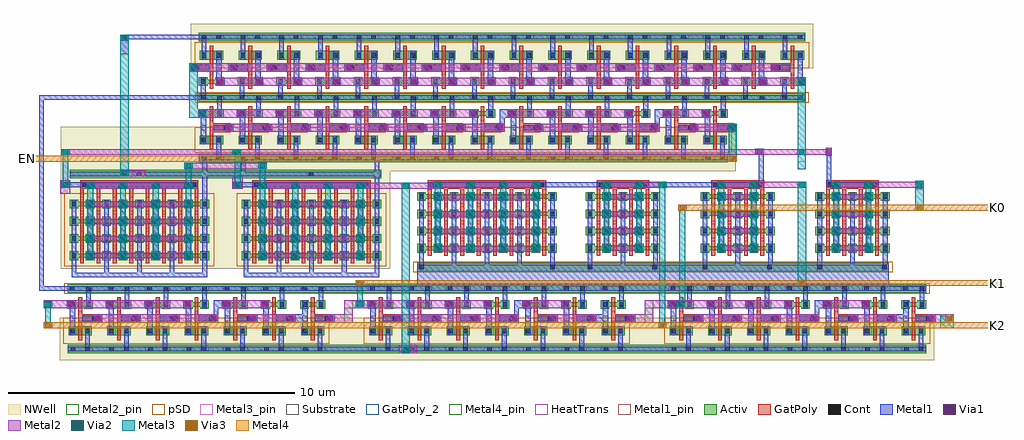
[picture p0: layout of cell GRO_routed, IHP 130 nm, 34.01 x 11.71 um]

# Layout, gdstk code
from math import pi, radians
import gdstk
lib = gdstk.Library(unit=1e-6, precision=5e-09)
def R(c, l, rs):  # rectangles x0, y0, x1, y1
    for r in rs: c.add(gdstk.rectangle(r[:2], r[2:], *l))
def A(c, l, x, y, w, h, nx, ny, dx, dy):  # array of equal rectangles
    R(c, l, [(x+i*dx, y+j*dy, x+i*dx+w, y+j*dy+h) for i in range(nx) for j in range(ny)])
Activ = (1, 0)
GatPoly = (5, 0)
GatPoly_2 = (5, 2)
Cont = (6, 0)
Metal1 = (8, 0)
Metal1_pin = (8, 2)
Metal2 = (10, 0)
Metal2_pin = (10, 2)
pSD = (14, 0)
Via1 = (19, 0)
Via2 = (29, 0)
Metal3 = (30, 0)
Metal3_pin = (30, 2)
NWell = (31, 0)
Substrate = (40, 0)
Via3 = (49, 0)
Metal4 = (50, 0)
Metal4_pin = (50, 2)
HeatTrans = (51, 0)

nmos_11_1 = lib.new_cell('nmos$11$1')
R(nmos_11_1, Activ, [(0,0,0.3,0.3), (0.57,0,0.87,0.3), (0,0.075,0.87,0.225)])
R(nmos_11_1, GatPoly, [(0.37,-0.105,0.5,0.405)])
R(nmos_11_1, GatPoly_2, [(0.37,-0.105,0.5,0.405)])
R(nmos_11_1, Cont, [(0.07,0.07,0.23,0.23), (0.64,0.07,0.8,0.23)])
R(nmos_11_1, Metal1, [(0.07,0.02,0.23,0.28), (0.64,0.02,0.8,0.28)])
R(nmos_11_1, Metal1_pin, [(0.07,0.02,0.23,0.28), (0.64,0.02,0.8,0.28)])
R(nmos_11_1, HeatTrans, [(0.37,-0.105,0.5,0.405)])
nmos_11_1.add(gdstk.Label('nmos', (0.435,0.15), layer=63, texttype=0))
nmos_11_1.add(gdstk.Label('nmos', (0.435,0.15), layer=51, texttype=0))

pmos_1_7_1 = lib.new_cell('pmos$1$7$1')
R(pmos_1_7_1, Activ, [(0,0,0.3,0.3), (0,0,0.81,0.3), (0.51,0,0.81,0.3)])
R(pmos_1_7_1, GatPoly, [(0.34,-0.18,0.47,0.48), (0.34,-0.18,0.47,0.48)])
R(pmos_1_7_1, Cont, [(0.07,0.07,0.23,0.23), (0.58,0.07,0.74,0.23)])
R(pmos_1_7_1, Metal1, [(0.07,0,0.23,0.3), (0.07,0,0.23,0.3), (0.58,0,0.74,0.3), (0.58,0,0.74,0.3)])
R(pmos_1_7_1, pSD, [(-0.18,-0.3,0.99,0.6)])
R(pmos_1_7_1, NWell, [(-0.31,-0.31,1.12,0.61)])
R(pmos_1_7_1, Substrate, [(0.51,0,0.81,0.3)])
R(pmos_1_7_1, HeatTrans, [(0.34,-0.18,0.47,0.48)])
pmos_1_7_1.add(gdstk.Label('pmos', (0.405,0.15), layer=63, texttype=0))
pmos_1_7_1.add(gdstk.Label('pmos', (0.405,0.15), layer=51, texttype=0))

via1_constraint_9_1 = lib.new_cell('Via1_constraint$9$1')
R(via1_constraint_9_1, Metal1, [(0,0,0.29,0.29)])
R(via1_constraint_9_1, Metal2, [(0,0,0.29,0.29)])
R(via1_constraint_9_1, Via1, [(0.05,0.05,0.24,0.24)])

inv_d1_7_1 = lib.new_cell('INV_D1$7$1')
R(inv_d1_7_1, Activ, [(0.28,0.03,1.15,0.33), (0.28,2.135,1.15,2.435)])
R(inv_d1_7_1, GatPoly, [(0.06,1.08,0.65,1.38), (0.65,1.11,0.78,1.325)])
R(inv_d1_7_1, GatPoly_2, [(0.06,1.08,0.65,1.38)])
R(inv_d1_7_1, Cont, [(0.35,0.1,0.51,0.26), (0.92,0.1,1.08,0.26), (0.13,1.15,0.29,1.31), (0.38,2.205,0.54,2.365), (0.89,2.205,1.05,2.365)])
R(inv_d1_7_1, Metal1, [(0.28,0.1,1.15,0.26), (0.07,1.14,0.64,1.32), (0.28,2.205,1.15,2.365)])
R(inv_d1_7_1, Metal1_pin, [(0.28,0.1,1.15,0.26), (0.07,1.14,0.64,1.32), (0.89,1.14,1.08,1.32), (0.28,2.205,1.15,2.365)])
R(inv_d1_7_1, pSD, [(0.15,0,1.28,0.36)])
R(inv_d1_7_1, NWell, [(0,2.115,1.43,2.745)])
R(inv_d1_7_1, Substrate, [(0.82,1.505,1.12,1.805)])
inv_d1_7_1.add(gdstk.FlexPath([(0.46,1.805),(0.46,2.365)], 0.16, ends="flush", simple_path=True, layer=8, datatype=0))  # Metal1
inv_d1_7_1.add(gdstk.FlexPath([(0.985,0.585),(0.985,1.805)], 0.19, ends="flush", simple_path=True, layer=8, datatype=0))  # Metal1
inv_d1_7_1.add(gdstk.FlexPath([(0.43,0.865),(0.43,0.1)], 0.16, ends="flush", simple_path=True, layer=8, datatype=0))  # Metal1
inv_d1_7_1.add(gdstk.FlexPath([(0.715,1.11),(0.715,0.99)], 0.13, ends="flush", simple_path=True, layer=5, datatype=0))  # GatPoly
inv_d1_7_1.add(gdstk.Reference(nmos_11_1, (0.28,0.585)))
inv_d1_7_1.add(gdstk.Reference(pmos_1_7_1, (0.31,1.505)))
inv_d1_7_1.add(gdstk.Reference(via1_constraint_9_1, (-0.05,1.085)))
inv_d1_7_1.add(gdstk.Reference(via1_constraint_9_1, (0.89,0.585)))
inv_d1_7_1.add(gdstk.Label('nmos', (0.715,0.655), layer=63, texttype=0))
inv_d1_7_1.add(gdstk.Label('VIN', (0.285,1.175), layer=8, texttype=25))
inv_d1_7_1.add(gdstk.Label('VOUT', (1.03,1.165), layer=8, texttype=25))
inv_d1_7_1.add(gdstk.Label('VDD', (0.655,2.28), layer=8, texttype=25))
inv_d1_7_1.add(gdstk.Label('VSS', (0.65,0.175), layer=8, texttype=25))

delay_gro_placement_1 = lib.new_cell('Delay_GRO_placement$1')
r = gdstk.Reference(inv_d1_7_1, (0,2.315)); r.repetition = gdstk.Repetition(16, 1, v1=(1.35,0), v2=(0,0)); delay_gro_placement_1.add(r)
r = gdstk.Reference(inv_d1_7_1, (18.98,2.675), rotation=pi); r.repetition = gdstk.Repetition(14, 1, v1=(-1.35,0), v2=(0,0)); delay_gro_placement_1.add(r)

via2_constraint_11_1 = lib.new_cell('Via2_constraint$11$1')
R(via2_constraint_11_1, Metal2, [(0,0,0.29,0.29)])
R(via2_constraint_11_1, Via2, [(0.05,0.05,0.24,0.24)])
R(via2_constraint_11_1, Metal3, [(0,0,0.29,0.29)])

delay_gro_routed_1 = lib.new_cell('Delay_GRO_routed$1')
R(delay_gro_routed_1, Activ, [(0.33,0.73,18.1,1.03), (0.33,2.835,21.45,3.135), (0.33,4.94,21.45,5.24)])
R(delay_gro_routed_1, Metal1, [(0.33,0.8,18.1,0.96), (10.82,1.79,10.98,2.58), (16.22,1.79,16.38,2.58), (10.82,2.29,11.39,2.58), (16.22,2.29,16.79,2.58), (0.33,2.905,21.45,3.065), (0.33,5.01,21.45,5.17)])
R(delay_gro_routed_1, Metal2, [(1.24,1.79,10.98,2.08), (12.04,1.79,16.38,2.08), (17.44,1.79,19.08,2.08), (0.3,2.29,10.04,2.58), (11.105,2.29,15.445,2.58), (16.5,2.29,18.14,2.58), (0.94,3.39,21.48,3.68), (0,3.89,20.54,4.18)])
R(delay_gro_routed_1, pSD, [(0.18,1.06,18.25,1.96), (0.2,2.805,21.58,3.165), (0.18,4.01,21.6,4.91)])
R(delay_gro_routed_1, Metal3, [(21.19,0.48,21.48,3.685), (18.79,0.745,19.08,2.08), (0,2.29,0.29,4.18), (0,2.29,0.59,2.58)])
R(delay_gro_routed_1, Metal3_pin, [(21.19,0.48,21.48,0.77), (18.79,0.745,19.08,1.035)])
delay_gro_routed_1.add(gdstk.Reference(delay_gro_placement_1, (0.05,0.49)))
delay_gro_routed_1.add(gdstk.Reference(via2_constraint_11_1, (21.19,3.39)))
delay_gro_routed_1.add(gdstk.Reference(via2_constraint_11_1, (0,3.89)))
delay_gro_routed_1.add(gdstk.Reference(via2_constraint_11_1, (0.3,2.29)))
delay_gro_routed_1.add(gdstk.Reference(via2_constraint_11_1, (18.79,1.79)))
delay_gro_routed_1.add(gdstk.Label('VDD', (0.73,5.065), layer=8, texttype=25))
delay_gro_routed_1.add(gdstk.Label('VSS', (1.27,2.97), layer=8, texttype=25))
delay_gro_routed_1.add(gdstk.Label('EN', (18.88,0.9), layer=30, texttype=25))
delay_gro_routed_1.add(gdstk.Label('G', (21.295,0.635), layer=30, texttype=25))

delay_gro_1 = lib.new_cell('Delay_GRO$1')
delay_gro_1.add(gdstk.Reference(delay_gro_routed_1, (0,0)))

pmos_5_1 = lib.new_cell('pmos$5$1')
R(pmos_5_1, Activ, [(0,0,0.3,0.3), (0.57,0,0.87,0.3), (0,0.075,0.87,0.225)])
R(pmos_5_1, GatPoly, [(0.37,-0.105,0.5,0.405), (0.37,-0.105,0.5,0.405)])
R(pmos_5_1, Cont, [(0.07,0.07,0.23,0.23), (0.64,0.07,0.8,0.23)])
R(pmos_5_1, Metal1, [(0.07,0.02,0.23,0.28), (0.07,0.02,0.23,0.28), (0.64,0.02,0.8,0.28), (0.64,0.02,0.8,0.28)])
R(pmos_5_1, pSD, [(-0.18,-0.225,1.05,0.525)])
R(pmos_5_1, NWell, [(-0.31,-0.31,1.18,0.61)])
R(pmos_5_1, Substrate, [(0.57,0,0.87,0.3)])
R(pmos_5_1, HeatTrans, [(0.37,-0.105,0.5,0.405)])
pmos_5_1.add(gdstk.Label('pmos', (0.435,0.15), layer=63, texttype=0))
pmos_5_1.add(gdstk.Label('pmos', (0.435,0.15), layer=51, texttype=0))

m1_4_placement_1 = lib.new_cell('M1_4_placement$1')
r = gdstk.Reference(pmos_5_1, (0.31,0.31)); r.repetition = gdstk.Repetition(8, 4, v1=(0.57,0), v2=(0,0.6)); m1_4_placement_1.add(r)

via_stack = lib.new_cell('via_stack')
R(via_stack, Metal1, [(-0.145,-0.105,0.145,0.105)])
R(via_stack, Metal2, [(-0.145,-0.1,0.145,0.1)])
R(via_stack, Via1, [(-0.095,-0.095,0.095,0.095)])
R(via_stack, Via2, [(-0.095,-0.095,0.095,0.095)])
R(via_stack, Metal3, [(-0.145,-0.1,0.145,0.1)])

via_stack_3 = lib.new_cell('via_stack$3')
R(via_stack_3, Metal2, [(-0.145,-0.1,0.145,0.1)])
R(via_stack_3, Via2, [(-0.095,-0.095,0.095,0.095)])
R(via_stack_3, Metal3, [(-0.145,-0.1,0.145,0.1)])

m1_4_routed_1 = lib.new_cell('M1_4_routed$1')
R(m1_4_routed_1, Activ, [(0.31,3.45,5.17,3.75)])
A(m1_4_routed_1, GatPoly, 0.68, 0.5, 0.13, 2.58, 7, 1, 0.57, 0)
R(m1_4_routed_1, GatPoly, [(4.67,0.5,4.8,3.38), (0.68,3.08,4.8,3.38)])
R(m1_4_routed_1, Cont, [(0.75,3.15,0.91,3.31), (4.545,3.15,4.705,3.31), (2.645,3.52,2.805,3.68)])
A(m1_4_routed_1, Metal1, 0.38, 0, 0.16, 2.685, 5, 1, 1.14, 0)
R(m1_4_routed_1, Metal1, [(0.38,0,5.1,0.16), (4.94,2.685,5.1,3.68), (0.7,3.14,4.755,3.32), (0.31,3.52,5.17,3.68)])
R(m1_4_routed_1, Metal1_pin, [(0.7,3.14,4.755,3.32)])
R(m1_4_routed_1, NWell, [(0,3.015,5.48,3.99)])
m1_4_routed_1.add(gdstk.FlexPath([(4.55,3.19),(0.89,3.19)], 0.2, ends="flush", simple_path=True, layer=10, datatype=0))  # Metal2
m1_4_routed_1.add(gdstk.FlexPath([(4.55,0.76),(0.89,0.76)], 0.2, ends="flush", simple_path=True, layer=10, datatype=0))  # Metal2
m1_4_routed_1.add(gdstk.FlexPath([(4.55,1.35),(0.89,1.35)], 0.2, ends="flush", simple_path=True, layer=10, datatype=0))  # Metal2
m1_4_routed_1.add(gdstk.FlexPath([(4.55,1.95),(0.89,1.95)], 0.2, ends="flush", simple_path=True, layer=10, datatype=0))  # Metal2
m1_4_routed_1.add(gdstk.FlexPath([(4.55,2.55),(0.89,2.55)], 0.2, ends="flush", simple_path=True, layer=10, datatype=0))  # Metal2
m1_4_routed_1.add(gdstk.FlexPath([(1.03,0.655),(1.03,3.29)], 0.2, ends="flush", simple_path=True, layer=30, datatype=0))  # Metal3
m1_4_routed_1.add(gdstk.FlexPath([(2.17,0.655),(2.17,3.29)], 0.2, ends="flush", simple_path=True, layer=30, datatype=0))  # Metal3
m1_4_routed_1.add(gdstk.FlexPath([(3.31,0.655),(3.31,3.29)], 0.2, ends="flush", simple_path=True, layer=30, datatype=0))  # Metal3
m1_4_routed_1.add(gdstk.FlexPath([(4.45,0.655),(4.45,3.29)], 0.2, ends="flush", simple_path=True, layer=30, datatype=0))  # Metal3
m1_4_routed_1.add(gdstk.Reference(m1_4_placement_1, (0,0.295)))
m1_4_routed_1.add(gdstk.Reference(via_stack, (1.025,2.555)))
m1_4_routed_1.add(gdstk.Reference(via_stack, (1.025,1.95)))
m1_4_routed_1.add(gdstk.Reference(via_stack, (1.025,1.36)))
m1_4_routed_1.add(gdstk.Reference(via_stack, (1.025,0.76)))
m1_4_routed_1.add(gdstk.Reference(via_stack, (2.17,2.555)))
m1_4_routed_1.add(gdstk.Reference(via_stack, (2.17,1.95)))
m1_4_routed_1.add(gdstk.Reference(via_stack, (2.17,1.36)))
m1_4_routed_1.add(gdstk.Reference(via_stack, (2.17,0.76)))
m1_4_routed_1.add(gdstk.Reference(via_stack, (3.31,2.555)))
m1_4_routed_1.add(gdstk.Reference(via_stack, (3.31,1.95)))
m1_4_routed_1.add(gdstk.Reference(via_stack, (3.31,1.36)))
m1_4_routed_1.add(gdstk.Reference(via_stack, (3.31,0.76)))
m1_4_routed_1.add(gdstk.Reference(via_stack, (4.45,2.555)))
m1_4_routed_1.add(gdstk.Reference(via_stack, (4.45,1.95)))
m1_4_routed_1.add(gdstk.Reference(via_stack, (4.45,1.36)))
m1_4_routed_1.add(gdstk.Reference(via_stack, (4.45,0.76)))
m1_4_routed_1.add(gdstk.Reference(via_stack_3, (1.035,3.19)))
m1_4_routed_1.add(gdstk.Reference(via_stack_3, (3.31,3.19)))
m1_4_routed_1.add(gdstk.Reference(via_stack_3, (2.17,3.19)))
m1_4_routed_1.add(gdstk.Reference(via_stack_3, (4.45,3.19)))

m1_4_1 = lib.new_cell('M1_4$1')
R(m1_4_1, GatPoly_2, [(0.68,3.08,4.8,3.38)])
A(m1_4_1, Metal1, 0.95, 0.625, 0.16, 2.06, 4, 1, 1.14, 0)
m1_4_1.add(gdstk.Reference(m1_4_routed_1, (0,0)))

nmos_2_3_1 = lib.new_cell('nmos$2$3$1')
R(nmos_2_3_1, Activ, [(0,0,0.3,0.3), (0.57,0,0.87,0.3), (0,0.075,0.87,0.225)])
R(nmos_2_3_1, GatPoly, [(0.37,-0.105,0.5,0.405)])
R(nmos_2_3_1, GatPoly_2, [(0.37,-0.105,0.5,0.405)])
R(nmos_2_3_1, Cont, [(0.07,0.07,0.23,0.23), (0.64,0.07,0.8,0.23)])
R(nmos_2_3_1, Metal1, [(0.07,0.02,0.23,0.28), (0.64,0.02,0.8,0.28)])
R(nmos_2_3_1, Metal1_pin, [(0.07,0.02,0.23,0.28), (0.64,0.02,0.8,0.28)])
R(nmos_2_3_1, HeatTrans, [(0.37,-0.105,0.5,0.405)])
nmos_2_3_1.add(gdstk.Label('nmos', (0.435,0.15), layer=63, texttype=0))
nmos_2_3_1.add(gdstk.Label('nmos', (0.435,0.15), layer=51, texttype=0))

pmos_1_1_4_1 = lib.new_cell('pmos$1$1$4$1')
R(pmos_1_1_4_1, Activ, [(0,0,0.3,0.3), (0,0,0.81,0.3), (0.51,0,0.81,0.3)])
R(pmos_1_1_4_1, GatPoly, [(0.34,-0.18,0.47,0.48), (0.34,-0.18,0.47,0.48)])
R(pmos_1_1_4_1, Cont, [(0.07,0.07,0.23,0.23), (0.58,0.07,0.74,0.23)])
R(pmos_1_1_4_1, Metal1, [(0.07,0,0.23,0.3), (0.07,0,0.23,0.3), (0.58,0,0.74,0.3), (0.58,0,0.74,0.3)])
R(pmos_1_1_4_1, pSD, [(-0.18,-0.3,0.99,0.6)])
R(pmos_1_1_4_1, NWell, [(-0.31,-0.31,1.12,0.61)])
R(pmos_1_1_4_1, Substrate, [(0.51,0,0.81,0.3)])
R(pmos_1_1_4_1, HeatTrans, [(0.34,-0.18,0.47,0.48)])
pmos_1_1_4_1.add(gdstk.Label('pmos', (0.405,0.15), layer=63, texttype=0))
pmos_1_1_4_1.add(gdstk.Label('pmos', (0.405,0.15), layer=51, texttype=0))

via1_constraint_3_2_1 = lib.new_cell('Via1_constraint$3$2$1')
R(via1_constraint_3_2_1, Metal1, [(0,0,0.29,0.29)])
R(via1_constraint_3_2_1, Metal2, [(0,0,0.29,0.29)])
R(via1_constraint_3_2_1, Via1, [(0.05,0.05,0.24,0.24)])

inv_d1_1_4_1 = lib.new_cell('INV_D1$1$4$1')
R(inv_d1_1_4_1, Activ, [(0.28,0.03,1.15,0.33), (0.28,2.135,1.15,2.435)])
R(inv_d1_1_4_1, GatPoly, [(0.06,1.08,0.65,1.38), (0.65,1.11,0.78,1.325)])
R(inv_d1_1_4_1, GatPoly_2, [(0.06,1.08,0.65,1.38)])
R(inv_d1_1_4_1, Cont, [(0.35,0.1,0.51,0.26), (0.92,0.1,1.08,0.26), (0.13,1.15,0.29,1.31), (0.38,2.205,0.54,2.365), (0.89,2.205,1.05,2.365)])
R(inv_d1_1_4_1, Metal1, [(0.28,0.1,1.15,0.26), (0.07,1.14,0.64,1.32), (0.28,2.205,1.15,2.365)])
R(inv_d1_1_4_1, Metal1_pin, [(0.28,0.1,1.15,0.26), (0.07,1.14,0.64,1.32), (0.89,1.14,1.08,1.32), (0.28,2.205,1.15,2.365)])
R(inv_d1_1_4_1, pSD, [(0.15,0,1.28,0.36)])
R(inv_d1_1_4_1, NWell, [(0,2.115,1.43,2.675)])
R(inv_d1_1_4_1, Substrate, [(0.82,1.505,1.12,1.805)])
inv_d1_1_4_1.add(gdstk.FlexPath([(0.46,1.805),(0.46,2.365)], 0.16, ends="flush", simple_path=True, layer=8, datatype=0))  # Metal1
inv_d1_1_4_1.add(gdstk.FlexPath([(0.985,0.585),(0.985,1.805)], 0.19, ends="flush", simple_path=True, layer=8, datatype=0))  # Metal1
inv_d1_1_4_1.add(gdstk.FlexPath([(0.43,0.865),(0.43,0.1)], 0.16, ends="flush", simple_path=True, layer=8, datatype=0))  # Metal1
inv_d1_1_4_1.add(gdstk.FlexPath([(0.715,1.11),(0.715,0.99)], 0.13, ends="flush", simple_path=True, layer=5, datatype=0))  # GatPoly
inv_d1_1_4_1.add(gdstk.Reference(nmos_2_3_1, (0.28,0.585)))
inv_d1_1_4_1.add(gdstk.Reference(pmos_1_1_4_1, (0.31,1.505)))
inv_d1_1_4_1.add(gdstk.Reference(via1_constraint_3_2_1, (-0.05,1.085)))
inv_d1_1_4_1.add(gdstk.Label('nmos', (0.715,0.655), layer=63, texttype=0))
inv_d1_1_4_1.add(gdstk.Label('VIN', (0.285,1.175), layer=8, texttype=25))
inv_d1_1_4_1.add(gdstk.Label('VOUT', (1.03,1.165), layer=8, texttype=25))
inv_d1_1_4_1.add(gdstk.Label('VDD', (0.655,2.28), layer=8, texttype=25))
inv_d1_1_4_1.add(gdstk.Label('VSS', (0.65,0.175), layer=8, texttype=25))

inv3_placement_1 = lib.new_cell('INV3_placement$1')
r = gdstk.Reference(inv_d1_1_4_1, (18.98,2.675), rotation=pi); r.repetition = gdstk.Repetition(7, 1, v1=(-1.35,0), v2=(0,0)); inv3_placement_1.add(r)

via2_constraint_1_6_1 = lib.new_cell('Via2_constraint$1$6$1')

inv3_routed_1 = lib.new_cell('INV3_routed$1')
R(inv3_routed_1, Activ, [(0.85,0.24,9.17,0.54), (0.85,2.345,9.82,2.645)])
R(inv3_routed_1, Metal1, [(0.85,0.31,9.17,0.47), (5.94,1.3,6.1,2.09), (8.51,1.3,9.21,1.59), (5.94,1.8,6.51,2.09), (0.85,2.415,9.82,2.575)])
R(inv3_routed_1, Metal2, [(1.76,1.3,6.1,1.59), (7.16,1.3,8.8,1.59), (9.86,1.3,10.775,1.59), (0.015,1.8,1.13,2.09), (0.82,1.8,5.16,2.09), (6.22,1.8,7.86,2.09)])
R(inv3_routed_1, Metal2_pin, [(10.485,1.3,10.775,1.59), (0.015,1.8,0.305,2.09)])
R(inv3_routed_1, pSD, [(0.7,0.57,9.32,1.47), (0.72,2.315,9.95,2.675)])
inv3_routed_1.add(gdstk.Reference(inv3_placement_1, (-8.88,0)))
inv3_routed_1.add(gdstk.Reference(via2_constraint_1_6_1, (7.57,1.8)))
inv3_routed_1.add(gdstk.Reference(via2_constraint_1_6_1, (12.26,2.9)))
inv3_routed_1.add(gdstk.Reference(via2_constraint_1_6_1, (-8.93,3.4)))
inv3_routed_1.add(gdstk.Reference(via2_constraint_1_6_1, (-8.63,1.8)))
inv3_routed_1.add(gdstk.Reference(via2_constraint_1_6_1, (9.86,1.3)))
inv3_routed_1.add(gdstk.Label('VIN', (10.605,1.45), layer=10, texttype=25))
inv3_routed_1.add(gdstk.Label('VOUT', (0.165,1.975), layer=10, texttype=25))

via1_constraint_4_2_1 = lib.new_cell('Via1_constraint$4$2$1')
R(via1_constraint_4_2_1, Metal1, [(0,0,0.29,0.29)])
R(via1_constraint_4_2_1, Metal2, [(0,0,0.29,0.29)])
R(via1_constraint_4_2_1, Via1, [(0.05,0.05,0.24,0.24)])

inv3_1 = lib.new_cell('INV3$1')
inv3_1.add(gdstk.Reference(inv3_routed_1, (0,0)))
inv3_1.add(gdstk.Reference(via1_constraint_4_2_1, (7.57,1.8)))
inv3_1.add(gdstk.Reference(via1_constraint_4_2_1, (6.22,1.8)))
inv3_1.add(gdstk.Reference(via1_constraint_4_2_1, (4.87,1.8)))
inv3_1.add(gdstk.Reference(via1_constraint_4_2_1, (3.52,1.8)))
inv3_1.add(gdstk.Reference(via1_constraint_4_2_1, (2.17,1.8)))
inv3_1.add(gdstk.Reference(via1_constraint_4_2_1, (0.82,1.8)))

nmos_3_3_1 = lib.new_cell('nmos$3$3$1')
R(nmos_3_3_1, Activ, [(0,0,0.3,0.3), (0.57,0,0.87,0.3), (0,0.075,0.87,0.225)])
R(nmos_3_3_1, GatPoly, [(0.37,-0.105,0.5,0.405)])
R(nmos_3_3_1, GatPoly_2, [(0.37,-0.105,0.5,0.405)])
R(nmos_3_3_1, Cont, [(0.07,0.07,0.23,0.23), (0.64,0.07,0.8,0.23)])
R(nmos_3_3_1, Metal1, [(0.07,0.02,0.23,0.28), (0.64,0.02,0.8,0.28)])
R(nmos_3_3_1, Metal1_pin, [(0.07,0.02,0.23,0.28), (0.64,0.02,0.8,0.28)])
R(nmos_3_3_1, HeatTrans, [(0.37,-0.105,0.5,0.405)])
nmos_3_3_1.add(gdstk.Label('nmos', (0.435,0.15), layer=63, texttype=0))
nmos_3_3_1.add(gdstk.Label('nmos', (0.435,0.15), layer=51, texttype=0))

m2_3_placement_1 = lib.new_cell('M2_3_placement$1')
r = gdstk.Reference(nmos_3_3_1, (0,0.105)); r.repetition = gdstk.Repetition(4, 4, v1=(0.57,0), v2=(0,0.6)); m2_3_placement_1.add(r)
m2_3_placement_1.add(gdstk.Reference(via_stack, (0.715,2.05)))
m2_3_placement_1.add(gdstk.Reference(via_stack, (0.715,0.845)))
m2_3_placement_1.add(gdstk.Reference(via_stack, (0.715,1.455)))
m2_3_placement_1.add(gdstk.Reference(via_stack, (0.715,0.255)))
m2_3_placement_1.add(gdstk.Reference(via_stack, (1.855,2.04)))
m2_3_placement_1.add(gdstk.Reference(via_stack, (1.855,0.835)))
m2_3_placement_1.add(gdstk.Reference(via_stack, (1.855,1.445)))
m2_3_placement_1.add(gdstk.Reference(via_stack, (1.855,0.245)))

m2_3_routed_1 = lib.new_cell('M2_3_routed$1')
R(m2_3_routed_1, Activ, [(0.13,0.03,2.685,0.33)])
A(m2_3_routed_1, GatPoly, 0.5, 0.58, 0.13, 2.32, 4, 1, 0.57, 0)
R(m2_3_routed_1, GatPoly, [(0.5,2.9,2.34,3.2)])
R(m2_3_routed_1, GatPoly_2, [(0.5,2.9,2.34,3.2)])
R(m2_3_routed_1, Cont, [(0.2,0.1,0.36,0.26), (2.45,0.1,2.61,0.26), (0.57,2.97,0.73,3.13), (2.11,2.97,2.27,3.13)])
R(m2_3_routed_1, Metal1, [(0.13,0.1,2.685,0.26), (1.91,0.7,2.07,2.76), (0.77,0.705,0.93,2.765), (0.52,2.96,2.32,3.14)])
R(m2_3_routed_1, Metal1_pin, [(0.52,2.96,2.32,3.14)])
R(m2_3_routed_1, pSD, [(0,0,2.815,0.36)])
m2_3_routed_1.add(gdstk.FlexPath([(0.28,2.76),(0.28,0.1)], 0.16, ends="flush", simple_path=True, layer=8, datatype=0))  # Metal1
m2_3_routed_1.add(gdstk.FlexPath([(2.56,2.76),(2.56,0.1)], 0.16, ends="flush", simple_path=True, layer=8, datatype=0))  # Metal1
m2_3_routed_1.add(gdstk.FlexPath([(1.42,2.76),(1.42,0.1)], 0.16, ends="flush", simple_path=True, layer=8, datatype=0))  # Metal1
m2_3_routed_1.add(gdstk.FlexPath([(2.08,3.05),(0.7,3.05)], 0.2, ends="flush", simple_path=True, layer=10, datatype=0))  # Metal2
m2_3_routed_1.add(gdstk.FlexPath([(2.08,2.62),(0.7,2.62)], 0.2, ends="flush", simple_path=True, layer=10, datatype=0))  # Metal2
m2_3_routed_1.add(gdstk.FlexPath([(2.08,2.03),(0.7,2.03)], 0.2, ends="flush", simple_path=True, layer=10, datatype=0))  # Metal2
m2_3_routed_1.add(gdstk.FlexPath([(2.08,1.44),(0.7,1.44)], 0.2, ends="flush", simple_path=True, layer=10, datatype=0))  # Metal2
m2_3_routed_1.add(gdstk.FlexPath([(2.08,0.84),(0.7,0.84)], 0.2, ends="flush", simple_path=True, layer=10, datatype=0))  # Metal2
m2_3_routed_1.add(gdstk.FlexPath([(0.85,0.73),(0.85,3.14)], 0.2, ends="flush", simple_path=True, layer=30, datatype=0))  # Metal3
m2_3_routed_1.add(gdstk.FlexPath([(1.98,0.73),(1.98,3.14)], 0.2, ends="flush", simple_path=True, layer=30, datatype=0))  # Metal3
m2_3_routed_1.add(gdstk.Reference(m2_3_placement_1, (0.13,0.58)))
m2_3_routed_1.add(gdstk.Reference(via_stack_3, (0.845,3.05)))
m2_3_routed_1.add(gdstk.Reference(via_stack_3, (1.98,3.05)))

nmos_array = lib.new_cell('nmos_array')
nmos_array.add(gdstk.Reference(m2_3_routed_1, (0,0)))

nmos_3_3_2 = lib.new_cell('nmos$3$3$2')
R(nmos_3_3_2, Activ, [(0,0,0.3,0.3), (0.57,0,0.87,0.3), (0,0.075,0.87,0.225)])
R(nmos_3_3_2, GatPoly, [(0.37,-0.105,0.5,0.405)])
R(nmos_3_3_2, GatPoly_2, [(0.37,-0.105,0.5,0.405)])
R(nmos_3_3_2, Cont, [(0.07,0.07,0.23,0.23), (0.64,0.07,0.8,0.23)])
R(nmos_3_3_2, Metal1, [(0.07,0.02,0.23,0.28), (0.64,0.02,0.8,0.28)])
R(nmos_3_3_2, Metal1_pin, [(0.07,0.02,0.23,0.28), (0.64,0.02,0.8,0.28)])
R(nmos_3_3_2, HeatTrans, [(0.37,-0.105,0.5,0.405)])
nmos_3_3_2.add(gdstk.Label('nmos', (0.435,0.15), layer=63, texttype=0))
nmos_3_3_2.add(gdstk.Label('nmos', (0.435,0.15), layer=51, texttype=0))

m2_3_placement_2 = lib.new_cell('M2_3_placement$2')
r = gdstk.Reference(nmos_3_3_2, (0,0.105)); r.repetition = gdstk.Repetition(8, 4, v1=(0.57,0), v2=(0,0.6)); m2_3_placement_2.add(r)

m2_3_routed_2 = lib.new_cell('M2_3_routed$2')
R(m2_3_routed_2, Activ, [(0.13,0.03,4.995,0.33)])
A(m2_3_routed_2, GatPoly, 0.5, 0.58, 0.13, 2.32, 8, 1, 0.57, 0)
R(m2_3_routed_2, GatPoly, [(0.5,2.9,4.62,3.2)])
R(m2_3_routed_2, GatPoly_2, [(0.5,2.9,4.62,3.2)])
R(m2_3_routed_2, Cont, [(0.2,0.1,0.36,0.26), (4.76,0.1,4.92,0.26), (0.57,2.97,0.73,3.13), (4.39,2.97,4.55,3.13)])
A(m2_3_routed_2, Metal1, 0.2, 0.1, 0.16, 2.665, 5, 1, 1.14, 0)
R(m2_3_routed_2, Metal1, [(0.13,0.1,4.995,0.26), (0.52,2.96,4.6,3.14)])
R(m2_3_routed_2, Metal1_pin, [(0.52,2.96,4.6,3.14)])
R(m2_3_routed_2, pSD, [(0,0,5.125,0.36)])
m2_3_routed_2.add(gdstk.FlexPath([(4.415,3.05),(0.71,3.05)], 0.2, ends="flush", simple_path=True, layer=10, datatype=0))  # Metal2
m2_3_routed_2.add(gdstk.FlexPath([(4.415,2.6),(0.71,2.6)], 0.2, ends="flush", simple_path=True, layer=10, datatype=0))  # Metal2
m2_3_routed_2.add(gdstk.FlexPath([(4.415,2.02),(0.71,2.02)], 0.2, ends="flush", simple_path=True, layer=10, datatype=0))  # Metal2
m2_3_routed_2.add(gdstk.FlexPath([(4.415,1.42),(0.71,1.42)], 0.2, ends="flush", simple_path=True, layer=10, datatype=0))  # Metal2
m2_3_routed_2.add(gdstk.FlexPath([(4.415,0.82),(0.71,0.82)], 0.2, ends="flush", simple_path=True, layer=10, datatype=0))  # Metal2
m2_3_routed_2.add(gdstk.FlexPath([(0.85,0.725),(0.85,3.15)], 0.2, ends="flush", simple_path=True, layer=30, datatype=0))  # Metal3
m2_3_routed_2.add(gdstk.FlexPath([(1.99,0.725),(1.99,3.15)], 0.2, ends="flush", simple_path=True, layer=30, datatype=0))  # Metal3
m2_3_routed_2.add(gdstk.FlexPath([(4.27,0.725),(4.27,3.15)], 0.2, ends="flush", simple_path=True, layer=30, datatype=0))  # Metal3
m2_3_routed_2.add(gdstk.FlexPath([(3.13,0.725),(3.13,3.15)], 0.2, ends="flush", simple_path=True, layer=30, datatype=0))  # Metal3
m2_3_routed_2.add(gdstk.Reference(m2_3_placement_2, (0.13,0.58)))
m2_3_routed_2.add(gdstk.Reference(via_stack, (0.845,2.595)))
m2_3_routed_2.add(gdstk.Reference(via_stack, (0.85,0.83)))
m2_3_routed_2.add(gdstk.Reference(via_stack, (0.85,1.43)))
m2_3_routed_2.add(gdstk.Reference(via_stack, (0.85,2.03)))
m2_3_routed_2.add(gdstk.Reference(via_stack, (3.125,2.635)))
m2_3_routed_2.add(gdstk.Reference(via_stack, (3.13,0.83)))
m2_3_routed_2.add(gdstk.Reference(via_stack, (3.13,1.43)))
m2_3_routed_2.add(gdstk.Reference(via_stack, (3.13,2.03)))
m2_3_routed_2.add(gdstk.Reference(via_stack, (1.985,2.635)))
m2_3_routed_2.add(gdstk.Reference(via_stack, (1.99,0.83)))
m2_3_routed_2.add(gdstk.Reference(via_stack, (1.99,1.43)))
m2_3_routed_2.add(gdstk.Reference(via_stack, (1.99,2.03)))
m2_3_routed_2.add(gdstk.Reference(via_stack, (4.265,2.635)))
m2_3_routed_2.add(gdstk.Reference(via_stack, (4.27,0.83)))
m2_3_routed_2.add(gdstk.Reference(via_stack, (4.27,1.43)))
m2_3_routed_2.add(gdstk.Reference(via_stack, (4.27,2.03)))
m2_3_routed_2.add(gdstk.Reference(via_stack_3, (0.855,3.05)))
m2_3_routed_2.add(gdstk.Reference(via_stack_3, (1.99,3.05)))
m2_3_routed_2.add(gdstk.Reference(via_stack_3, (3.13,3.05)))
m2_3_routed_2.add(gdstk.Reference(via_stack_3, (4.27,3.05)))

m2_3_1 = lib.new_cell('M2_3$1')
A(m2_3_1, Metal1, 0.77, 0.705, 0.16, 2.06, 3, 1, 1.14, 0)
R(m2_3_1, Metal1, [(4.19,0.7,4.35,2.76)])
m2_3_1.add(gdstk.Reference(m2_3_routed_2, (0,0)))

gro_new_placement = lib.new_cell('GRO_new_placement')
R(gro_new_placement, Activ, [(0.835,0.24,30.745,0.54), (0.835,2.345,30.745,2.645), (13.01,3.09,17.885,3.39), (0.9,6.33,11.76,6.63)])
R(gro_new_placement, Metal1, [(0.835,0.31,30.745,0.47), (0.835,2.415,30.745,2.575), (13.01,3.16,17.885,3.32), (0.9,6.4,11.76,6.56), (5.53,6.4,5.69,7.115), (6.88,6.4,7.04,7.115), (11.53,6.4,11.69,7.115)])
R(gro_new_placement, Metal2, [(10.47,1.3,10.76,2.09), (20.94,1.3,21.23,2.09)])
R(gro_new_placement, pSD, [(0.705,2.315,30.875,2.675), (12.88,3.06,18.015,3.42)])
R(gro_new_placement, NWell, [(0.555,0,31.025,1.48), (6.07,3.175,6.59,6.645)])
gro_new_placement.add(gdstk.Reference(delay_gro_1, (5.075,6.16)))
r = gdstk.Reference(m1_4_1, (0.59,2.88)); r.repetition = gdstk.Repetition(2, 1, v1=(6,0), v2=(0,0)); gro_new_placement.add(r)
r = gdstk.Reference(inv3_1, (-0.015,0)); r.repetition = gdstk.Repetition(3, 1, v1=(10.47,0), v2=(0,0)); gro_new_placement.add(r)
r = gdstk.Reference(nmos_array, (18.76,3.06)); r.repetition = gdstk.Repetition(3, 1, v1=(4,0), v2=(0,0)); gro_new_placement.add(r)
r = gdstk.Reference(m2_3_1, (12.88,3.06)); r.repetition = gdstk.Repetition(1, 1, v1=(0,0), v2=(0,0)); gro_new_placement.add(r)
gro_new_placement.add(gdstk.Label('G', (0.82,6.07), layer=40, texttype=0))
gro_new_placement.add(gdstk.Label('S', (5.06,5.85), layer=40, texttype=0))
gro_new_placement.add(gdstk.Label('vdd', (2.83,6.49), layer=40, texttype=0))
gro_new_placement.add(gdstk.Label('VSS', (17.31,3.24), layer=40, texttype=0))
gro_new_placement.add(gdstk.Label('G', (17.43,5.89), layer=40, texttype=0))
gro_new_placement.add(gdstk.Label('S', (13.74,5.38), layer=40, texttype=0))

via_stack_4 = lib.new_cell('via_stack$4')
R(via_stack_4, Metal3, [(-0.145,-0.1,0.145,0.1)])
R(via_stack_4, Via3, [(-0.095,-0.095,0.095,0.095)])
R(via_stack_4, Metal4, [(-0.145,-0.1,0.145,0.1)])

via_stack_6 = lib.new_cell('via_stack$6')
R(via_stack_6, Metal1, [(-0.145,-0.105,0.145,0.105)])
R(via_stack_6, Metal2, [(-0.145,-0.1,0.145,0.1)])
R(via_stack_6, Via1, [(-0.095,-0.095,0.095,0.095)])

via_stack_7 = lib.new_cell('via_stack$7')
R(via_stack_7, Metal2, [(-0.145,-0.1,0.145,0.1)])
R(via_stack_7, Via2, [(-0.095,-0.095,0.095,0.095)])
R(via_stack_7, Metal3, [(-0.145,-0.1,0.145,0.1)])
R(via_stack_7, Via3, [(-0.095,-0.095,0.095,0.095)])
R(via_stack_7, Metal4, [(-0.145,-0.1,0.145,0.1)])

gro_routed = lib.new_cell('GRO_routed')
R(gro_routed, Activ, [(13.7,3.09,30.135,3.39)])
R(gro_routed, Metal1, [(0.53,2.415,0.69,9.225), (0.53,2.415,1.525,2.575), (13.7,2.415,30.13,3.32), (13.7,3.16,30.135,3.32), (1.59,6.02,1.98,6.2), (7.59,6.02,7.98,6.2), (18.17,6.02,19.97,6.2), (21.77,6.02,23.97,6.2), (25.61,6.02,25.77,7.35), (27.97,6.02,28.13,7.35), (0.53,9.065,6.095,9.225), (3.36,11.17,6.095,11.33)])
R(gro_routed, Metal2, [(13.08,0.24,13.69,0.54), (1.26,5.8,1.62,6.26), (7.26,5.96,7.62,6.37), (11.875,5.97,14.52,6.17), (21.285,6.01,22.4,6.21), (25.285,6.01,27.26,6.21), (29.285,6.01,31.35,6.21), (3.36,6.405,4.22,6.61), (5.58,6.67,8.41,6.87), (1.3,7.15,7.55,7.35), (7.26,7.15,27.245,7.35), (27.245,7.15,27.96,7.35), (3.36,10.66,3.65,11.335)])
R(gro_routed, pSD, [(13.57,3.06,30.265,3.42)])
R(gro_routed, Metal3, [(13.16,0.24,13.45,6.17), (0.74,1.11,0.94,2.04), (22.14,1.11,22.34,6.21), (31.92,1.11,32.39,1.55), (32.1,1.11,32.39,1.55), (11.61,1.85,11.81,2.78), (22.84,2.05,23.04,5.41), (26.97,2.58,27.26,6.2), (31.06,5.205,31.35,6.24), (5.63,5.97,5.83,6.87), (8.21,5.97,8.41,6.87), (7.35,6,7.55,7.35), (1.35,6.21,1.55,7.35), (3.36,6.4,3.65,11.335)])
R(gro_routed, NWell, [(1.28,6.87,5.815,8.13)])
R(gro_routed, Metal4, [(0.695,1.11,34,1.31), (32.1,1.11,32.39,1.55), (0,6.91,24.845,7.11)])
R(gro_routed, Metal4_pin, [(33.79,1.11,34,1.31), (33.8,2.58,34.01,2.78), (33.8,5.21,34.01,5.41), (0,6.91,0.21,7.11)])
gro_routed.add(gdstk.FlexPath([(34.01,5.31),(22.8,5.31)], 0.2, ends="flush", simple_path=True, layer=50, datatype=0))  # Metal4
gro_routed.add(gdstk.FlexPath([(34.01,2.68),(11.57,2.68)], 0.2, ends="flush", simple_path=True, layer=50, datatype=0))  # Metal4
gro_routed.add(gdstk.Reference(gro_new_placement, (0.69,0)))
gro_routed.add(gdstk.Reference(via_stack, (7.445,6.105)))
gro_routed.add(gdstk.Reference(via_stack, (1.45,6.11)))
gro_routed.add(gdstk.Reference(via_stack_3, (1.445,7.25)))
gro_routed.add(gdstk.Reference(via_stack_3, (7.4,7.25)))
gro_routed.add(gdstk.Reference(via_stack_3, (5.73,6.77)))
gro_routed.add(gdstk.Reference(via_stack_3, (8.315,6.77)))
gro_routed.add(gdstk.Reference(via_stack_3, (27.095,7.25)))
gro_routed.add(gdstk.Reference(via_stack_3, (22.895,1.95)))
gro_routed.add(gdstk.Reference(via_stack_4, (22.945,5.31)))
gro_routed.add(gdstk.Reference(via_stack_3, (11.71,1.95)))
gro_routed.add(gdstk.Reference(via_stack_4, (11.71,2.68)))
gro_routed.add(gdstk.Reference(via_stack_3, (0.84,1.94)))
gro_routed.add(gdstk.Reference(via_stack_4, (0.84,1.21)))
gro_routed.add(gdstk.Reference(via_stack_4, (24.7,7.01)))
gro_routed.add(gdstk.Reference(via_stack_3, (31.205,6.095), rotation=3*pi/2))
gro_routed.add(gdstk.Reference(via_stack_4, (31.205,5.31)))
gro_routed.add(gdstk.Reference(via_stack_3, (27.115,6.105)))
gro_routed.add(gdstk.Reference(via_stack_4, (27.115,2.68)))
gro_routed.add(gdstk.Reference(via_stack_3, (22.245,6.115)))
gro_routed.add(gdstk.Reference(via_stack_4, (22.24,1.21)))
gro_routed.add(gdstk.Reference(via_stack_6, (28.045,7.255), rotation=3*pi/2))
gro_routed.add(gdstk.Reference(via_stack_6, (25.63,7.25)))
gro_routed.add(gdstk.Reference(via_stack_7, (32.245,1.45)))
gro_routed.add(gdstk.Reference(via_stack_3, (13.305,6.07)))
gro_routed.add(gdstk.Reference(via_stack, (13.305,0.365)))
gro_routed.add(gdstk.Reference(via_stack, (3.505,6.505)))
gro_routed.add(gdstk.Reference(via_stack, (3.505,11.23)))
gro_routed.add(gdstk.Label('K0', (33.92,5.31), layer=50, texttype=25))
gro_routed.add(gdstk.Label('K1', (33.92,2.68), layer=50, texttype=25))
gro_routed.add(gdstk.Label('K2', (33.91,1.21), layer=50, texttype=25))
gro_routed.add(gdstk.Label('EN', (0.12,7.01), layer=50, texttype=25))

lib.write_gds('GRO_routed.gds')
